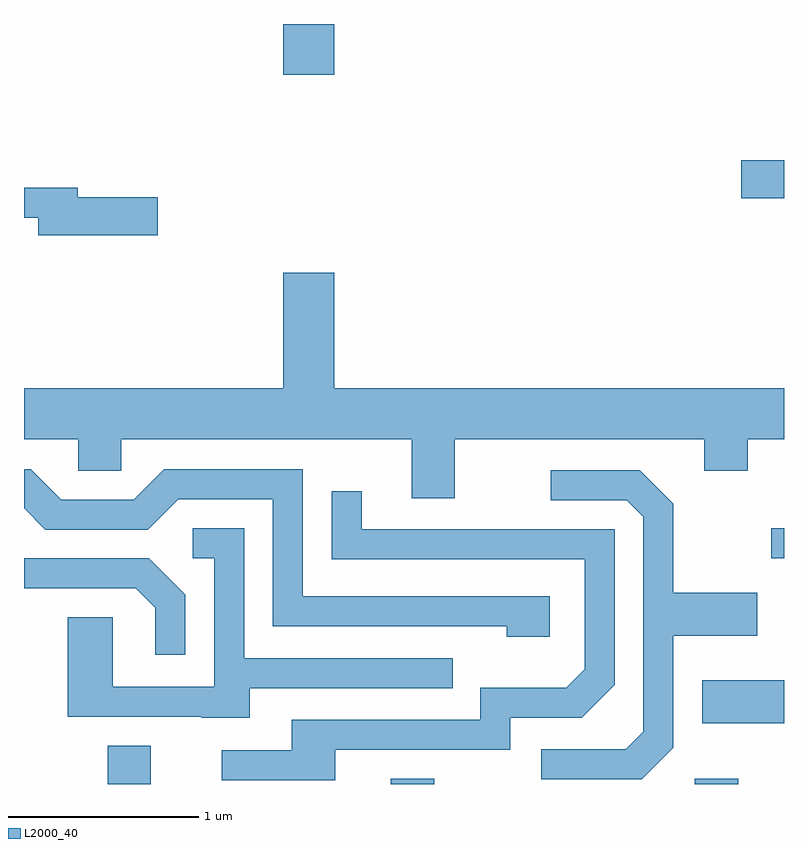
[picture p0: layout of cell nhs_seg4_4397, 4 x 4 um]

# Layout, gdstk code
import gdstk
lib = gdstk.Library(unit=1e-6, precision=1e-09)
def R(c, l, rs):  # rectangles x0, y0, x1, y1
    for r in rs: c.add(gdstk.rectangle(r[:2], r[2:], *l))
def P(c, l, *ps):  # polygons
    for p in ps: c.add(gdstk.Polygon(p, *l))
L2000_40 = (2000, 40)

nhs_seg4_4397 = lib.new_cell('nhs_seg4_4397')
R(nhs_seg4_4397, L2000_40, [(314.051,1343.982,314.279,1344.184), (315.541,1343.982,315.769,1344.009), (317.141,1343.982,317.369,1344.009), (317.181,1344.301,317.611,1344.529), (317.543,1345.171,317.611,1345.329), (317.386,1347.066,317.611,1347.264), (314.976,1347.716,315.244,1347.982)])
P(nhs_seg4_4397, L2000_40, [(314.314,1347.069),(313.894,1347.069),(313.894,1347.119),(313.611,1347.119),(313.611,1346.961),(313.686,1346.961),(313.686,1346.871),(314.314,1346.871)],
  [(315.879,1345.796),(317.191,1345.796),(317.191,1345.631),(317.419,1345.631),(317.419,1345.796),(317.611,1345.796),(317.611,1346.064),(315.244,1346.064),(315.244,1346.674),(314.976,1346.674),(314.976,1346.064),(313.611,1346.064),(313.611,1345.796),(313.896,1345.796),(313.896,1345.631),(314.124,1345.631),(314.124,1345.796),(315.651,1345.796),(315.651,1345.486),(315.879,1345.486)],
  [(316.379,1344.969),(315.079,1344.969),(315.079,1345.639),(314.349,1345.639),(314.189,1345.479),(313.807,1345.479),(313.647,1345.639),(313.611,1345.639),(313.611,1345.434),(313.724,1345.321),(314.262,1345.321),(314.422,1345.481),(314.921,1345.481),(314.921,1344.811),(316.151,1344.811),(316.151,1344.756),(316.379,1344.756)],
  [(317.029,1344.174),(317.029,1344.761),(317.469,1344.761),(317.469,1344.989),(317.029,1344.989),(317.029,1345.457),(316.852,1345.634),(316.383,1345.634),(316.383,1345.476),(316.784,1345.476),(316.871,1345.389),(316.871,1344.257),(316.779,1344.164),(316.333,1344.164),(316.333,1344.006),(316.862,1344.006)],
  [(315.249,1344.161),(316.169,1344.161),(316.169,1344.331),(316.547,1344.331),(316.719,1344.504),(316.719,1345.324),(315.389,1345.324),(315.389,1345.523),(315.231,1345.523),(315.231,1345.166),(316.561,1345.166),(316.561,1344.587),(316.464,1344.489),(316.011,1344.489),(316.011,1344.319),(315.021,1344.319),(315.021,1344.159),(314.653,1344.159),(314.653,1344.001),(315.249,1344.001)],
  [(314.799,1344.486),(315.868,1344.486),(315.868,1344.644),(314.769,1344.644),(314.769,1345.329),(314.498,1345.329),(314.498,1345.171),(314.611,1345.171),(314.611,1344.494),(314.079,1344.494),(314.079,1344.859),(313.841,1344.859),(313.841,1344.336),(314.545,1344.336),(314.545,1344.331),(314.799,1344.331)],
  [(314.459,1344.977),(314.267,1345.169),(313.611,1345.169),(313.611,1345.011),(314.199,1345.011),(314.301,1344.909),(314.301,1344.663),(314.459,1344.663)])

lib.write_gds('nhs_seg4_4397.gds')
